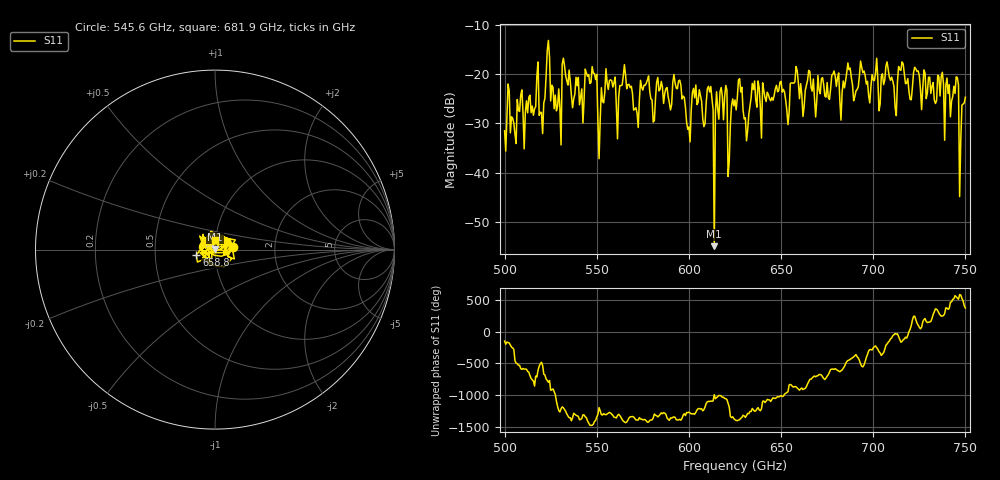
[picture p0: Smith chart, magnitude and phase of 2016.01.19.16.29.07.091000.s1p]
!Created with skrf (http://scikit-rf.org).
# GHz S RI R 50.0
!freq ReS11 ImS11
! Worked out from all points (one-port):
!   401 points, 500 GHz to 750 GHz, reference 50 ohm
!   lowest |S11| = -54.9 dB at 613.8 GHz (marker M1), VSWR 1.00, Z = 50 + j0.179 ohm
!   |S11| at or under -10 dB: start of sweep to end of sweep
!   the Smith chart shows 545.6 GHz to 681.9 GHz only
!   S11 on the Smith chart (normalised r, x): 545.6 GHz: 1.22, +0.03; 658.8 GHz: 0.81, -0.05; 681.9 GHz: 0.99, +0.11
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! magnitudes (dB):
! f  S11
! 500 GHz  -31.5
! 516.9 GHz  -26.6
! 520 GHz  -27.8
! 523.1 GHz  -15.2
! 529.4 GHz  -23.0
! 531.2 GHz  -17.9
! 545.6 GHz  -20.1
! 548.8 GHz  -19.9
! 551.9 GHz  -29.2
! 556.2 GHz  -23.1
! 562.5 GHz  -22.3
! 593.8 GHz  -23.0
! 600 GHz  -30.7
! 611.2 GHz  -23.6
! 613.8 GHz  -54.9
! 616.2 GHz  -29.1
! 622.5 GHz  -30.2
! 625 GHz  -25.2
! 631.2 GHz  -33.5
! 635 GHz  -23.1
! 656.2 GHz  -21.8
! 658.8 GHz  -19.3
! 681.9 GHz  -25.2
! 687.5 GHz  -18.7
! 718.8 GHz  -20.9
! 745 GHz  -20.5
! 748.1 GHz  -26.3
! 750 GHz  -24.7
